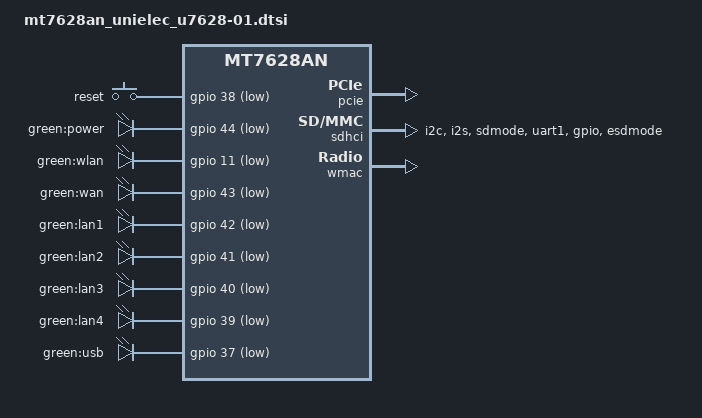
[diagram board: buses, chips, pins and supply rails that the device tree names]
// SPDX-License-Identifier: BSD-3-Clause
/*
 *  Copyright(c) 2017 Kristian Evensen <kristian.evensen@gmail.com>.
 *  Copyright(c) 2017 Piotr Dymacz <pepe2k@gmail.com>.
 *  All rights reserved.
 */

#include "mt7628an.dtsi"

#include <dt-bindings/gpio/gpio.h>
#include <dt-bindings/input/input.h>

/ {
	compatible = "unielec,u7628-01", "mediatek,mt7628an-soc";

	aliases {
		led-boot = &led_power;
		led-failsafe = &led_power;
		led-running = &led_power;
		led-upgrade = &led_power;
	};

	chosen {
		bootargs = "console=ttyS0,115200";
	};

	keys {
		compatible = "gpio-keys";

		reset {
			label = "reset";
			gpios = <&gpio 38 GPIO_ACTIVE_LOW>;
			linux,code = <KEY_RESTART>;
		};
	};

	leds {
		compatible = "gpio-leds";

		led_power: power {
			label = "green:power";
			gpios = <&gpio 44 GPIO_ACTIVE_LOW>;
		};

		wlan {
			label = "green:wlan";
			gpios = <&gpio 11 GPIO_ACTIVE_LOW>;
		};

		wan {
			label = "green:wan";
			gpios = <&gpio 43 GPIO_ACTIVE_LOW>;
		};

		lan1 {
			label = "green:lan1";
			gpios = <&gpio 42 GPIO_ACTIVE_LOW>;
		};

		lan2 {
			label = "green:lan2";
			gpios = <&gpio 41 GPIO_ACTIVE_LOW>;
		};

		lan3 {
			label = "green:lan3";
			gpios = <&gpio 40 GPIO_ACTIVE_LOW>;
		};

		lan4 {
			label = "green:lan4";
			gpios = <&gpio 39 GPIO_ACTIVE_LOW>;
		};

		usb {
			label = "green:usb";
			gpios = <&gpio 37 GPIO_ACTIVE_LOW>;
			trigger-sources = <&ohci_port1>, <&ehci_port1>;
			linux,default-trigger = "usbport";
		};
	};
};

&pcie {
	status = "okay";
};

&sdhci {
        status = "okay";
        pinctrl-0 = <&sdxc_router_pins>;
};

&ethernet {
	mtd-mac-address = <&factory 0x28>;
};

&wmac {
	status = "okay";
};

&pinctrl {
        sdxc_router_pins: sdxc_router_mode {
                gpio {
                        groups = "i2c", "i2s", "sdmode", "uart1", "gpio";
                        function = "gpio";
                };

                esdmode {
                        groups = "esdmode";
                        function = "sdxc";
                };
        };
        state_default: pinctrl0 {
                gpio {
                        groups = "p0led_an", "p1led_an", "p2led_an", "p3led_an", "p4led_an", "wdt", "refclk", "wled_an";
                        function = "gpio";
                };
        };
};
